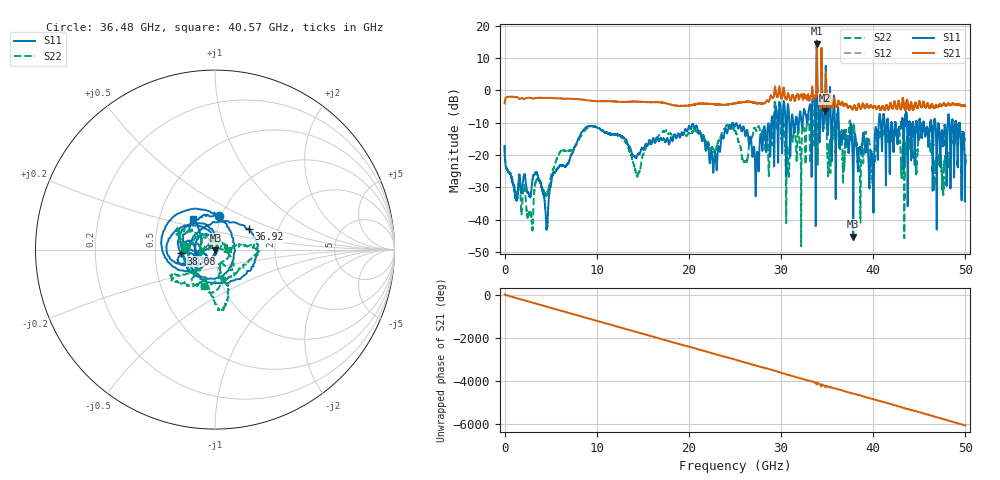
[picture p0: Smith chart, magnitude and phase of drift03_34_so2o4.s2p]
!Created with skrf (http://scikit-rf.org).
# Hz S RI R 50.0
!freq ReS11 ImS11 ReS21 ImS21 ReS12 ImS12 ReS22 ImS22
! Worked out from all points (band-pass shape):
!   10001 points, 300 kHz to 50 GHz, reference 50 ohm
!   highest |S21| = 14.40 dB at 33.88 GHz (marker M1); lowest = -6.3 dB at 34.79 GHz (marker M2)
!   |S21| within 3 dB of the highest: 33.86959 GHz to 33.88837 GHz (18.78 MHz wide, 0.0554 % of centre); 34.37722 GHz to 34.38952 GHz (12.3 MHz wide, 0.0358 % of centre)
!   lowest |S11| = -45.3 dB at 37.83 GHz (marker M3), VSWR 1.01, Z = 50.3 - j0.475 ohm
!   |S11| at or under -10 dB: start of sweep to 28.94 GHz; 36.27 GHz to 40.61 GHz (4.341 GHz wide, 11.3 % of centre); 46.75 GHz to 48.08 GHz (1.334 GHz wide, 2.81 % of centre) (the widest 3 of 57)
!   |S22| runs from -48.2 to 10.9 dB; largest |S21 - S12| = 0.82
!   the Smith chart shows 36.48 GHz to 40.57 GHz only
!   S11 on the Smith chart (normalised r, x): 36.48 GHz: 0.97, +0.38; 36.92 GHz: 1.42, +0.34; 38.08 GHz: 0.68, -0.03; 40.57 GHz: 0.74, +0.26
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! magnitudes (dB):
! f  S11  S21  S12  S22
! 300 kHz  -17.2  -4.0  -4.1  -17.0
! 2.825 GHz  -32.6  -2.4  -2.4  -38.3
! 4.565 GHz  -42.2  -2.3  -2.3  -32.2
! 8.335 GHz  -13.1  -2.8  -2.8  -13.9
! 14.43 GHz  -20.0  -3.5  -3.5  -26.2
! 16.67 GHz  -15.4  -3.7  -3.7  -14.3
! 22.82 GHz  -19.4  -4.3  -4.3  -19.2
! 25 GHz  -11.0  -4.0  -4.0  -12.5
! 27.39 GHz  -19.4  -4.1  -4.1  -12.4
! 29.6 GHz  -10.4  -2.0  -2.1  -11.7
! 30.7 GHz  -5.5  -1.4  -1.4  -17.2
! 33.34 GHz  -13.9  -0.4  -0.5  -7.0
! 33.88 GHz  15.4  14.4  14.1  10.9
! 34.79 GHz  -3.2  -6.3  -4.9  -8.6
! 36.48 GHz  -14.4  -4.4  -4.4  -15.4
! 36.92 GHz  -13.1  -4.5  -4.4  -17.8
! 37.83 GHz  -45.3  -5.5  -5.5  -11.1
! 38.08 GHz  -14.4  -5.5  -5.5  -17.2
! 40.57 GHz  -13.6  -4.9  -5.0  -13.4
! 41.67 GHz  -12.3  -5.9  -5.9  -15.0
! 47.58 GHz  -16.3  -4.3  -4.3  -29.0
! 50 GHz  -20.1  -4.9  -4.9  -15.2
